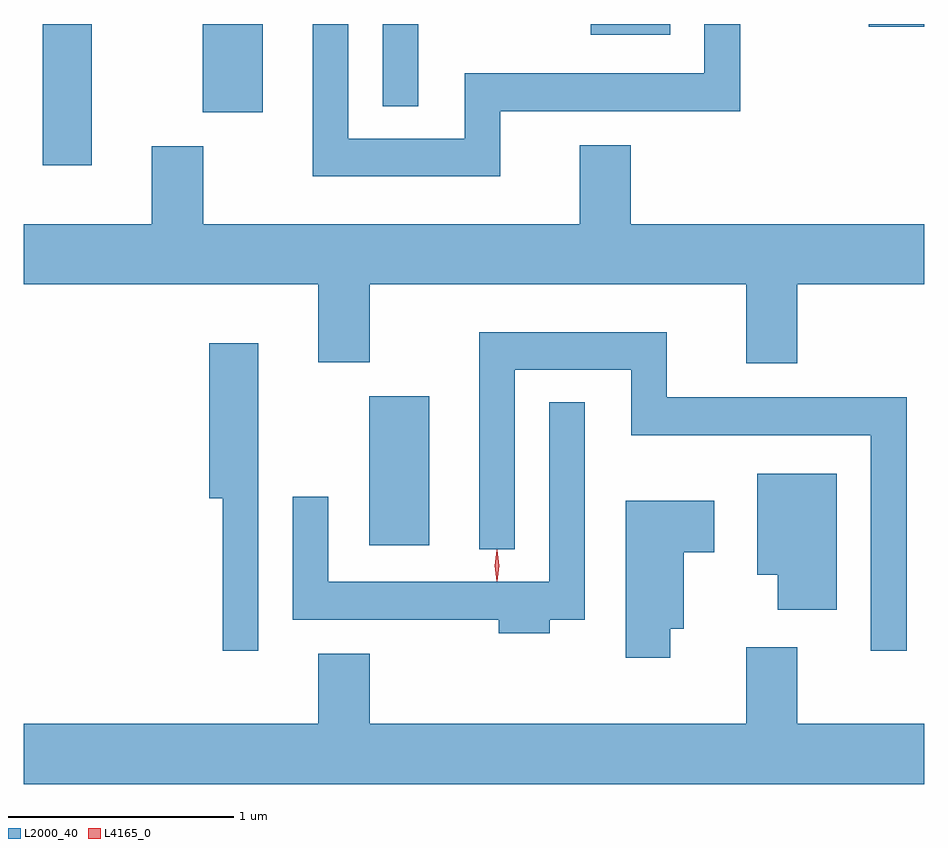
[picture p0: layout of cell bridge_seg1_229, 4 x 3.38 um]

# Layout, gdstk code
import gdstk
lib = gdstk.Library(unit=1e-6, precision=1e-09)
def R(c, l, rs):  # rectangles x0, y0, x1, y1
    for r in rs: c.add(gdstk.rectangle(r[:2], r[2:], *l))
def P(c, l, *ps):  # polygons
    for p in ps: c.add(gdstk.Polygon(p, *l))
L2000_40 = (2000, 40)
L4165_0 = (4165, 0)

bridge_seg1_229 = lib.new_cell('bridge_seg1_229')
R(bridge_seg1_229, L2000_40, [(836.866,896.196,837.134,896.859), (835.416,897.886,835.634,898.513), (836.126,898.121,836.394,898.513), (836.926,898.148,837.084,898.513), (837.851,898.466,838.204,898.513), (839.086,898.501,839.332,898.513)])
P(bridge_seg1_229, L2000_40, [(837.449,898.126),(838.514,898.126),(838.514,898.513),(838.356,898.513),(838.356,898.294),(837.291,898.294),(837.291,898.004),(836.774,898.004),(836.774,898.513),(836.616,898.513),(836.616,897.836),(837.449,897.836)],
  [(838.769,897.356),(839.332,897.356),(839.332,897.624),(838.029,897.624),(838.029,897.974),(837.801,897.974),(837.801,897.624),(836.129,897.624),(836.129,897.969),(835.901,897.969),(835.901,897.624),(835.332,897.624),(835.332,897.356),(836.641,897.356),(836.641,897.011),(836.869,897.011),(836.869,897.356),(838.541,897.356),(838.541,897.006),(838.769,897.006)],
  [(839.254,896.854),(838.189,896.854),(838.189,897.144),(837.356,897.144),(837.356,896.178),(837.514,896.178),(837.514,896.976),(838.031,896.976),(838.031,896.686),(839.096,896.686),(839.096,895.728),(839.254,895.728)],
  [(836.374,897.094),(836.156,897.094),(836.156,896.406),(836.216,896.406),(836.216,895.728),(836.374,895.728)],
  [(837.669,895.866),(837.824,895.866),(837.824,896.833),(837.666,896.833),(837.666,896.034),(836.684,896.034),(836.684,896.413),(836.526,896.413),(836.526,895.866),(837.441,895.866),(837.441,895.806),(837.669,895.806)],
  [(838.944,896.514),(838.591,896.514),(838.591,896.066),(838.681,896.066),(838.681,895.911),(838.944,895.911)],
  [(838.204,895.826),(838.264,895.826),(838.264,896.166),(838.399,896.166),(838.399,896.394),(838.006,896.394),(838.006,895.696),(838.204,895.696)],
  [(839.332,895.404),(838.769,895.404),(838.769,895.744),(838.541,895.744),(838.541,895.404),(836.869,895.404),(836.869,895.714),(836.641,895.714),(836.641,895.404),(835.332,895.404),(835.332,895.136),(839.332,895.136)])
P(bridge_seg1_229, L4165_0, [(837.434,896.037),(837.425,896.106),(837.434,896.176),(837.435,896.176),(837.436,896.176),(837.445,896.106),(837.436,896.037),(837.435,896.037)],
  [(837.435,896.039),(837.434,896.04),(837.425,896.106),(837.434,896.172),(837.435,896.173),(837.435,896.172),(837.445,896.106),(837.435,896.04)])

lib.write_gds('bridge_seg1_229.gds')
